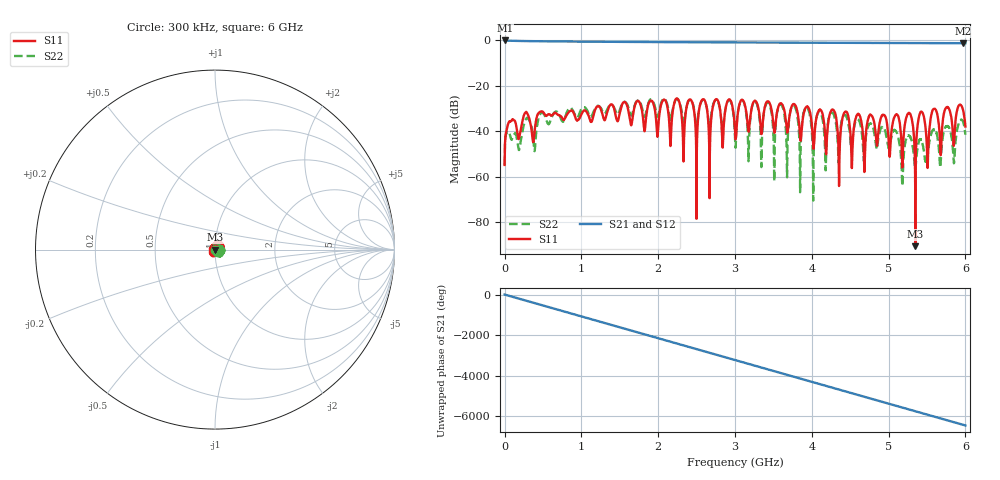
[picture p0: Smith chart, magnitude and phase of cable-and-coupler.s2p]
!  7/30/2020  13:59:44
! Ref Plane: 0.000 mm
# MHZ S MA R  50
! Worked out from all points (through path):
!   10001 points, 300 kHz to 6 GHz, reference 50 ohm
!   highest |S21| = -0.02 dB at 1.5 MHz (marker M1); lowest = -1.2 dB at 5.973 GHz (marker M2)
!   group delay of S21, straight-line fit = 2.99 ns
!   lowest |S11| = -90.5 dB at 5.348 GHz (marker M3), VSWR 1.00, Z = 50 - j0.000167 ohm
!   |S11| at or under -10 dB: start of sweep to end of sweep
!   |S22| runs from -70.5 to -25.5 dB; largest |S21 - S12| = 0.0069
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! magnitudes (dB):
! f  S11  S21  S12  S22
! 300 kHz  -54.8  0.0  0.0  -54.8
! 1.5 MHz  -51.0  0.0  0.0  -51.0
! 275.1 MHz  -31.6  -0.3  -0.3  -34.8
! 1 GHz  -32.5  -0.5  -0.5  -30.1
! 2.001 GHz  -38.2  -0.7  -0.7  -33.1
! 3 GHz  -39.6  -0.9  -0.9  -42.3
! 3.514 GHz  -40.5  -1.0  -1.0  -53.0
! 3.595 GHz  -27.6  -1.0  -1.0  -28.1
! 3.679 GHz  -40.2  -1.0  -1.0  -56.2
! 3.762 GHz  -28.0  -1.0  -1.0  -28.4
! 4 GHz  -36.6  -1.0  -1.0  -40.0
! 4.262 GHz  -30.5  -1.1  -1.1  -31.8
! 4.355 GHz  -63.9  -1.1  -1.1  -49.1
! 4.441 GHz  -31.3  -1.1  -1.1  -32.9
! 5 GHz  -43.6  -1.1  -1.1  -47.3
! 5.267 GHz  -31.9  -1.2  -1.2  -41.9
! 5.348 GHz  -90.5  -1.2  -1.2  -56.5
! 5.423 GHz  -31.3  -1.2  -1.2  -43.6
! 5.507 GHz  -55.5  -1.2  -1.2  -50.1
! 5.588 GHz  -30.1  -1.2  -1.2  -39.3
! 5.973 GHz  -31.1  -1.2  -1.2  -36.0
! 6 GHz  -37.9  -1.2  -1.2  -41.5
